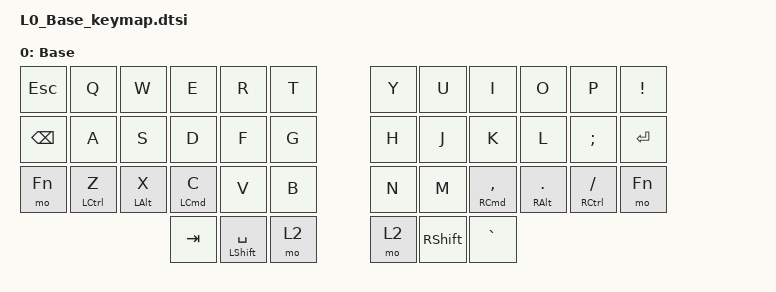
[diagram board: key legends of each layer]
/**
 * Alpha Layer - QWERTY
 */

/ {
  keymap {
    compatible = "zmk,keymap";

    layer_0 {
      label = "Base";
            bindings = <
&kp ESC        &kp Q        &kp W       &kp E       &kp R            &kp T     &kp Y   &kp U      &kp I           &kp O         &kp P                    &kp EXCLAMATION
&kp BACKSPACE  &kp A        &kp S       &kp D       &kp F            &kp G     &kp H   &kp J      &kp K           &kp L         &kp SEMI                 &kp ENTER
&mo Fn         &mt LCTRL Z  &mt LALT X  &mt LCMD C  &kp V            &kp B     &kp N   &kp M      &mt RCMD COMMA  &mt RALT DOT  &mt RIGHT_CONTROL SLASH  &mo Fn
                                        &kp TAB     &mt LSHFT SPACE  &mo L2    &mo L2  &kp RSHFT  &kp GRAVE
            >;
    };
  };
};
